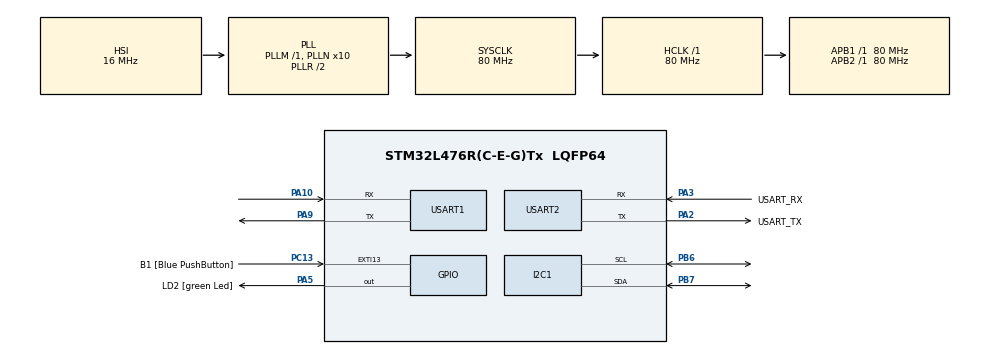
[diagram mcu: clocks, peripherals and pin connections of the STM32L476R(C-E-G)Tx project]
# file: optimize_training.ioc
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I2C1.Timing=0x10D19CE4
Mcu.Family=STM32L4
Mcu.Name=STM32L476R(C-E-G)Tx
Mcu.Package=LQFP64
NVIC.PriorityGroup=NVIC_PRIORITYGROUP_4
PA10.Mode=Asynchronous
PA10.Signal=USART1_RX
PA13\ (JTMS-SWDIO).GPIO_Label=TMS
PA13\ (JTMS-SWDIO).Mode=Serial_Wire
PA13\ (JTMS-SWDIO).Signal=SYS_JTMS-SWDIO
PA14\ (JTCK-SWCLK).GPIO_Label=TCK
PA14\ (JTCK-SWCLK).Mode=Serial_Wire
PA14\ (JTCK-SWCLK).Signal=SYS_JTCK-SWCLK
PA2.GPIO_Label=USART_TX
PA2.GPIO_Mode=GPIO_MODE_AF_PP
PA2.GPIO_PuPd=GPIO_NOPULL
PA2.GPIO_Speed=GPIO_SPEED_FREQ_VERY_HIGH
PA2.Mode=Asynchronous
PA2.Signal=USART2_TX
PA3.GPIO_Label=USART_RX
PA3.GPIO_Mode=GPIO_MODE_AF_PP
PA3.GPIO_PuPd=GPIO_NOPULL
PA3.GPIO_Speed=GPIO_SPEED_FREQ_VERY_HIGH
PA3.Mode=Asynchronous
PA3.Signal=USART2_RX
PA5.GPIO_Label=LD2 [green Led]
PA5.GPIO_ModeDefaultOutputPP=GPIO_MODE_OUTPUT_PP
PA5.GPIO_PuPd=GPIO_NOPULL
PA5.GPIO_Speed=GPIO_SPEED_FREQ_LOW
PA5.Signal=GPIO_Output
PA9.Mode=Asynchronous
PA9.Signal=USART1_TX
PB3\ (JTDO-TRACESWO).GPIO_Label=SWO
PB3\ (JTDO-TRACESWO).Signal=SYS_JTDO-SWO
PB6.Mode=I2C
PB6.Signal=I2C1_SCL
PB7.Mode=I2C
PB7.Signal=I2C1_SDA
PC13.GPIO_Label=B1 [Blue PushButton]
PC13.GPIO_ModeDefaultEXTI=GPIO_MODE_IT_FALLING
PC13.GPIO_PuPd=GPIO_NOPULL
PC13.Signal=GPXTI13
PC14-OSC32_IN\ (PC14).Mode=LSE-External-Oscillator
PC14-OSC32_IN\ (PC14).Signal=RCC_OSC32_IN
PC15-OSC32_OUT\ (PC15).Mode=LSE-External-Oscillator
PC15-OSC32_OUT\ (PC15).Signal=RCC_OSC32_OUT
PH0-OSC_IN\ (PH0).Signal=RCC_OSC_IN
PH1-OSC_OUT\ (PH1).Signal=RCC_OSC_OUT
ProjectManager.HeapSize=0x200
ProjectManager.StackSize=0x400
ProjectManager.TargetToolchain=STM32CubeIDE
RCC.ADCFreq_Value=64000000
RCC.AHBFreq_Value=80000000
RCC.APB1Freq_Value=80000000
RCC.APB1TimFreq_Value=80000000
RCC.APB2Freq_Value=80000000
RCC.APB2TimFreq_Value=80000000
RCC.CortexFreq_Value=80000000
RCC.HCLKFreq_Value=80000000
RCC.HSE_VALUE=8000000
RCC.HSI_VALUE=16000000
RCC.MSI_VALUE=4000000
RCC.PLLN=10
RCC.PLLSourceVirtual=RCC_PLLSOURCE_HSI
RCC.PREFETCH_ENABLE=1
RCC.SYSCLKFreq_VALUE=80000000
RCC.SYSCLKSource=RCC_SYSCLKSOURCE_PLLCLK
RCC.USBFreq_Value=64000000
RCC.VCOOutputFreq_Value=160000000
USART1.VirtualMode-Asynchronous=VM_ASYNC
USART2.VirtualMode-Asynchronous=VM_ASYNC
board=NUCLEO-L476RG

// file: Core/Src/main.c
/* USER CODE BEGIN Header */
/**
  ******************************************************************************
  * @file           : main.c
  * @brief          : Main program body
  ******************************************************************************
  * @attention
  *
  * Copyright (c) 2024 STMicroelectronics.
  * All rights reserved.
  *
  * This software is licensed under terms that can be found in the LICENSE file
  * in the root directory of this software component.
  * If no LICENSE file comes with this software, it is provided AS-IS.
  *
  ******************************************************************************
  */
/* USER CODE END Header */
#include "main.h"

/* USER CODE BEGIN Includes */
#include <string.h>
#include <stdio.h>
#include "sensor.h"
#include "bmp280.h"

/* USER CODE END Includes */

I2C_HandleTypeDef hi2c1;

UART_HandleTypeDef huart1;
UART_HandleTypeDef huart2;

/* USER CODE BEGIN PV */

char text[256];

/* USER CODE END PV */

void SystemClock_Config(void);
static void MX_GPIO_Init(void);
static void MX_USART2_UART_Init(void);
static void MX_USART1_UART_Init(void);
static void MX_I2C1_Init(void);

/* USER CODE BEGIN 0 */
void serialPrint(char *msg){
	char buffer[1024];
	snprintf(buffer, sizeof(buffer), "%s\r\n", msg);
	HAL_UART_Transmit(&huart2, (uint8_t *)buffer, strlen(buffer), 1000);
	memset(text,0,sizeof(text));
}

/* USER CODE END 0 */

int main(void)
{

  /* MCU Configuration--------------------------------------------------------*/

  /* Reset of all peripherals, Initializes the Flash interface and the Systick. */
  HAL_Init();

  /* Configure the system clock */
  SystemClock_Config();

  /* Initialize all configured peripherals */
  MX_GPIO_Init();
  MX_USART2_UART_Init();
  MX_USART1_UART_Init();
  MX_I2C1_Init();
  /* USER CODE BEGIN 2 */
//  sensor_init();
//  SensorData data = sensor_readData();
//  sprintf(text, "Temperature : %.2f", data.temperature);
//  serialPrint(text);
//
//  float baro = get_barometric();
//  sprintf(text, "Barometric : %.2f", baro);
//  serialPrint(text);
  BMP280_Init();

  /* USER CODE END 2 */

  /* Infinite loop */
  /* USER CODE BEGIN WHILE */
  while (1)
  {
//	  int32_t raw_tmp = BMP280_ReadTemperature();
//	  float temperature = BMP280_CompensateTemperature(raw_tmp);
//	  sprintf(text,"Temp : %.2f", temperature);
//	  serialPrint(text);
//	  HAL_Delay(1000);

	  float temp = BMP280_GetTemperature();
	  sprintf(text, "Temperature(C) : %.2f", temp);
	  serialPrint(text);
	  float press = BMP280_GetPressure_hPa();
	  sprintf(text,"Pressure(hPa) : %.2f", press);
	  serialPrint(text);

	  HAL_Delay(1000);
    /* USER CODE END WHILE */

  }
}

void SystemClock_Config(void)
{
  RCC_OscInitTypeDef RCC_OscInitStruct = {0};
  RCC_ClkInitTypeDef RCC_ClkInitStruct = {0};

  /** Configure the main internal regulator output voltage
  */
  if (HAL_PWREx_ControlVoltageScaling(PWR_REGULATOR_VOLTAGE_SCALE1) != HAL_OK)
  {
    Error_Handler();
  }

  /** Initializes the RCC Oscillators according to the specified parameters
  * in the RCC_OscInitTypeDef structure.
  */
  RCC_OscInitStruct.OscillatorType = RCC_OSCILLATORTYPE_HSI;
  RCC_OscInitStruct.HSIState = RCC_HSI_ON;
  RCC_OscInitStruct.HSICalibrationValue = RCC_HSICALIBRATION_DEFAULT;
  RCC_OscInitStruct.PLL.PLLState = RCC_PLL_ON;
  RCC_OscInitStruct.PLL.PLLSource = RCC_PLLSOURCE_HSI;
  RCC_OscInitStruct.PLL.PLLM = 1;
  RCC_OscInitStruct.PLL.PLLN = 10;
  RCC_OscInitStruct.PLL.PLLP = RCC_PLLP_DIV7;
  RCC_OscInitStruct.PLL.PLLQ = RCC_PLLQ_DIV2;
  RCC_OscInitStruct.PLL.PLLR = RCC_PLLR_DIV2;
  if (HAL_RCC_OscConfig(&RCC_OscInitStruct) != HAL_OK)
  {
    Error_Handler();
  }

  /** Initializes the CPU, AHB and APB buses clocks
  */
  RCC_ClkInitStruct.ClockType = RCC_CLOCKTYPE_HCLK|RCC_CLOCKTYPE_SYSCLK
                              |RCC_CLOCKTYPE_PCLK1|RCC_CLOCKTYPE_PCLK2;
  RCC_ClkInitStruct.SYSCLKSource = RCC_SYSCLKSOURCE_PLLCLK;
  RCC_ClkInitStruct.AHBCLKDivider = RCC_SYSCLK_DIV1;
  RCC_ClkInitStruct.APB1CLKDivider = RCC_HCLK_DIV1;
  RCC_ClkInitStruct.APB2CLKDivider = RCC_HCLK_DIV1;

  if (HAL_RCC_ClockConfig(&RCC_ClkInitStruct, FLASH_LATENCY_4) != HAL_OK)
  {
    Error_Handler();
  }
}

static void MX_I2C1_Init(void)
{

  hi2c1.Instance = I2C1;
  hi2c1.Init.Timing = 0x10D19CE4;
  hi2c1.Init.OwnAddress1 = 0;
  hi2c1.Init.AddressingMode = I2C_ADDRESSINGMODE_7BIT;
  hi2c1.Init.DualAddressMode = I2C_DUALADDRESS_DISABLE;
  hi2c1.Init.OwnAddress2 = 0;
  hi2c1.Init.OwnAddress2Masks = I2C_OA2_NOMASK;
  hi2c1.Init.GeneralCallMode = I2C_GENERALCALL_DISABLE;
  hi2c1.Init.NoStretchMode = I2C_NOSTRETCH_DISABLE;
  if (HAL_I2C_Init(&hi2c1) != HAL_OK)
  {
    Error_Handler();
  }

  /** Configure Analogue filter
  */
  if (HAL_I2CEx_ConfigAnalogFilter(&hi2c1, I2C_ANALOGFILTER_ENABLE) != HAL_OK)
  {
    Error_Handler();
  }

  /** Configure Digital filter
  */
  if (HAL_I2CEx_ConfigDigitalFilter(&hi2c1, 0) != HAL_OK)
  {
    Error_Handler();
  }

}

static void MX_USART1_UART_Init(void)
{

  huart1.Instance = USART1;
  huart1.Init.BaudRate = 115200;
  huart1.Init.WordLength = UART_WORDLENGTH_8B;
  huart1.Init.StopBits = UART_STOPBITS_1;
  huart1.Init.Parity = UART_PARITY_NONE;
  huart1.Init.Mode = UART_MODE_TX_RX;
  huart1.Init.HwFlowCtl = UART_HWCONTROL_NONE;
  huart1.Init.OverSampling = UART_OVERSAMPLING_16;
  huart1.Init.OneBitSampling = UART_ONE_BIT_SAMPLE_DISABLE;
  huart1.AdvancedInit.AdvFeatureInit = UART_ADVFEATURE_NO_INIT;
  if (HAL_UART_Init(&huart1) != HAL_OK)
  {
    Error_Handler();
  }

}

static void MX_USART2_UART_Init(void)
{

  huart2.Instance = USART2;
  huart2.Init.BaudRate = 115200;
  huart2.Init.WordLength = UART_WORDLENGTH_8B;
  huart2.Init.StopBits = UART_STOPBITS_1;
  huart2.Init.Parity = UART_PARITY_NONE;
  huart2.Init.Mode = UART_MODE_TX_RX;
  huart2.Init.HwFlowCtl = UART_HWCONTROL_NONE;
  huart2.Init.OverSampling = UART_OVERSAMPLING_16;
  huart2.Init.OneBitSampling = UART_ONE_BIT_SAMPLE_DISABLE;
  huart2.AdvancedInit.AdvFeatureInit = UART_ADVFEATURE_NO_INIT;
  if (HAL_UART_Init(&huart2) != HAL_OK)
  {
    Error_Handler();
  }

}

static void MX_GPIO_Init(void)
{
  GPIO_InitTypeDef GPIO_InitStruct = {0};

  /* GPIO Ports Clock Enable */
  __HAL_RCC_GPIOC_CLK_ENABLE();
  __HAL_RCC_GPIOH_CLK_ENABLE();
  __HAL_RCC_GPIOA_CLK_ENABLE();
  __HAL_RCC_GPIOB_CLK_ENABLE();

  /*Configure GPIO pin Output Level */
  HAL_GPIO_WritePin(LD2_GPIO_Port, LD2_Pin, GPIO_PIN_RESET);

  /*Configure GPIO pin : B1_Pin */
  GPIO_InitStruct.Pin = B1_Pin;
  GPIO_InitStruct.Mode = GPIO_MODE_IT_FALLING;
  GPIO_InitStruct.Pull = GPIO_NOPULL;
  HAL_GPIO_Init(B1_GPIO_Port, &GPIO_InitStruct);

  /*Configure GPIO pin : LD2_Pin */
  GPIO_InitStruct.Pin = LD2_Pin;
  GPIO_InitStruct.Mode = GPIO_MODE_OUTPUT_PP;
  GPIO_InitStruct.Pull = GPIO_NOPULL;
  GPIO_InitStruct.Speed = GPIO_SPEED_FREQ_LOW;
  HAL_GPIO_Init(LD2_GPIO_Port, &GPIO_InitStruct);

}

void Error_Handler(void)
{
  __disable_irq();
  while (1)
  {
  }
}
